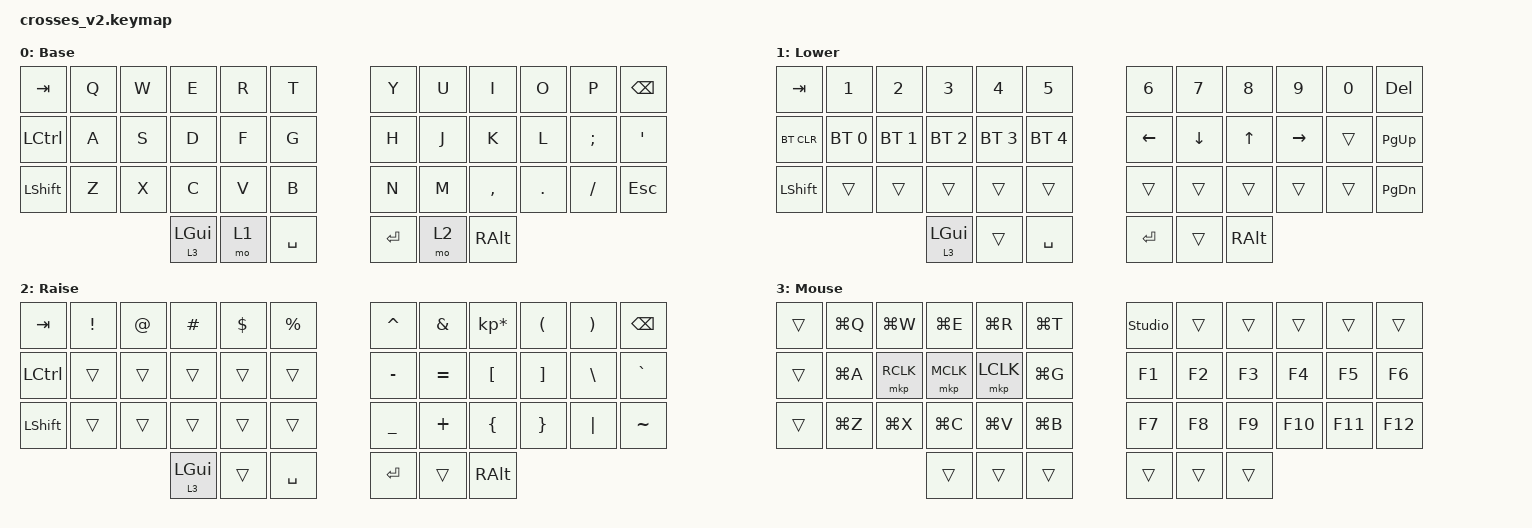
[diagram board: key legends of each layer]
#include <behaviors.dtsi>
#include <dt-bindings/zmk/bt.h>
#include <dt-bindings/zmk/keys.h>
#include <dt-bindings/zmk/outputs.h>
#include <dt-bindings/zmk/pointing.h>

/ {
    chosen { zmk,physical-layout = &gggw_crosses_42_layout; };

    keymap {
        compatible = "zmk,keymap";
        default_layer {
            display-name = "Base";
            bindings = <
                &kp TAB   &kp Q &kp W &kp E &kp R &kp T   &kp Y &kp U  &kp I     &kp O   &kp P    &kp BSPC
                &kp LCTRL &kp A &kp S &kp D &kp F &kp G   &kp H &kp J  &kp K     &kp L   &kp SEMI &kp SQT
                &kp LSHFT &kp Z &kp X &kp C &kp V &kp B   &kp N &kp M  &kp COMMA &kp DOT &kp FSLH &kp ESC
                            &lt 3 LGUI &mo 1 &kp SPACE   &kp RET &mo 2 &kp RALT
            >;
        };

        lower_layer {
            display-name = "Lower";
            bindings = <
                &kp TAB    &kp N1       &kp N2       &kp N3       &kp N4       &kp N5         &kp N6   &kp N7   &kp N8 &kp N9    &kp N0 &kp DEL
                &bt BT_CLR &bt BT_SEL 0 &bt BT_SEL 1 &bt BT_SEL 2 &bt BT_SEL 3 &bt BT_SEL 4   &kp LEFT &kp DOWN &kp UP &kp RIGHT &trans &kp PAGE_UP
                &kp LSHFT  &trans       &trans       &trans       &trans       &trans         &trans   &trans   &trans &trans    &trans &kp PAGE_DOWN
                                            &lt 3 LGUI     &trans       &kp SPACE      &kp RET  &trans   &kp RALT

            >;
        };

        raise_layer {
            display-name = "Raise";
            bindings = <
                &kp  TAB  &kp EXCL &kp AT &kp HASH &kp DLLR &kp PRCNT   &kp CARET &kp AMPS  &kp KP_MULTIPLY &kp LPAR &kp RPAR &kp BSPC
                &kp LCTRL &trans   &trans &trans   &trans   &trans      &kp MINUS &kp EQUAL &kp LBKT        &kp RBKT &kp BSLH &kp GRAVE
                &kp LSHFT &trans   &trans &trans   &trans   &trans      &kp UNDER &kp PLUS  &kp LBRC        &kp RBRC &kp PIPE &kp TILDE
                                        &lt 3 LGUI &trans   &kp SPACE   &kp RET   &trans    &kp RALT
            >;
        };

        mouse_layer {
            display-name = "Mouse";
            bindings = <
                &trans  &kp LG(Q)    &kp LG(W)     &kp LG(E)     &kp LG(R)  &kp LG(T)   &studio_unlock  &trans  &trans  &trans  &trans  &trans
                &trans  &kp LG(A)    &mkp RCLK  &mkp MCLK  &mkp LCLK  &kp LG(G)      &kp F1          &kp F2  &kp F3  &kp F4  &kp F5  &kp F6
                &trans  &kp LG(Z) &kp LG(X)  &kp LG(C)  &kp LG(V)  &kp LG(B)      &kp F7          &kp F8  &kp F9  &kp F10 &kp F11 &kp F12
                                                      &trans     &trans     &trans      &trans          &trans  &trans
            >;
        };
    };
};
